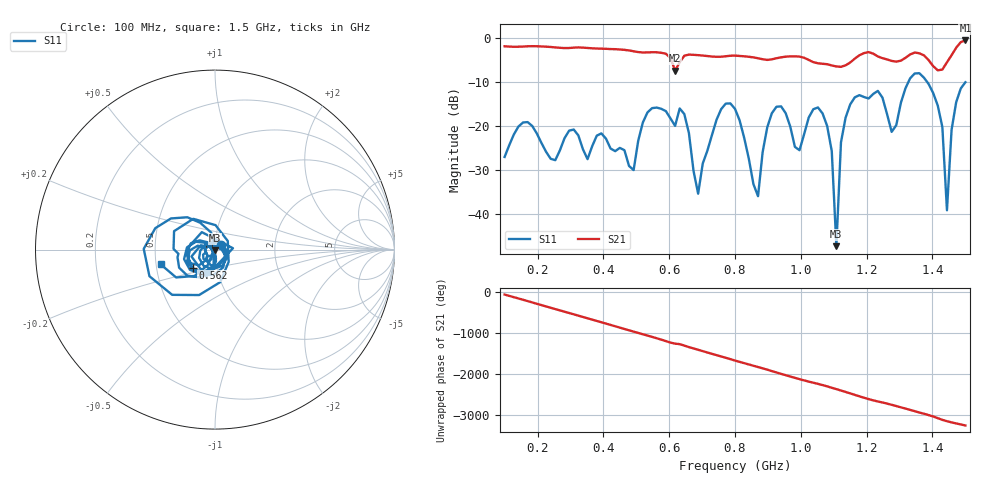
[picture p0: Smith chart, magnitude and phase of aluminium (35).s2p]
! NanoVNA-App
! Date: 2025-09-25 14:55:33
! Start: 100MHz Stop: 1,5GHz Points: 101
! S-Parameter data: F S11 S21 S12 S22
# Hz S RI R 50
!  Frequency  S11_Real  S11_Imag  S21_Real  S21_Imag  S12_Real  S12_Imag  S22_Real  S22_Imag
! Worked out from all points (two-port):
!   101 points, 100 MHz to 1.5 GHz, reference 50 ohm
!   highest |S21| = -0.60 dB at 1.5 GHz (marker M1); lowest = -7.4 dB at 618 MHz (marker M2)
!   |S21| within 3 dB of the highest: start of sweep to 589.1 MHz; 1.188 GHz to 1.22 GHz (32.02 MHz wide, 2.66 % of centre) (the widest 2 of 4)
!   lowest |S11| = -47.3 dB at 1.108 GHz (marker M3), VSWR 1.01, Z = 49.9 - j0.418 ohm
!   |S11| at or under -10 dB: start of sweep to 1.327 GHz; 1.384 GHz to end of sweep
!   S12 and S22 are empty: the file has one direction only
!   S11 on the Smith chart (normalised r, x): 100 MHz: 1.07, +0.06; 562 MHz: 0.76, -0.16; 1.5 GHz: 0.53, -0.10
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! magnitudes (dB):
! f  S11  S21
! 100 MHz  -27.0  -1.9
! 338 MHz  -25.3  -2.2
! 492 MHz  -30.0  -3.1
! 562 MHz  -15.8  -3.3
! 576 MHz  -16.1  -3.4
! 618 MHz  -20.0  -7.4
! 688 MHz  -35.3  -3.9
! 800 MHz  -16.1  -4.0
! 870 MHz  -35.9  -4.6
! 912 MHz  -17.1  -4.9
! 996 MHz  -25.5  -4.3
! 1.038 GHz  -16.2  -5.5
! 1.094 GHz  -25.7  -6.3
! 1.108 GHz  -47.3  -6.5
! 1.122 GHz  -23.7  -6.6
! 1.15 GHz  -15.1  -5.6
! 1.276 GHz  -21.3  -5.2
! 1.388 GHz  -10.4  -5.0
! 1.43 GHz  -20.2  -7.2
! 1.444 GHz  -39.1  -5.6
! 1.458 GHz  -20.9  -3.9
! 1.5 GHz  -10.1  -0.6
